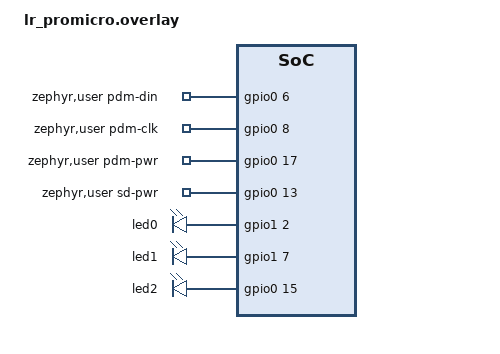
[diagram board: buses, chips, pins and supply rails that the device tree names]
/* ProMicro nRF52840 (nice!nano v2 clone) + a PDM mic breakout (pins 3V GND SEL CLK DAT), built on the XIAO board
 * definition: same chip, different pins.
 *
 * LR-P3 (hardware/lr-p3/README.md has the pin table): DAT-P0.06, CLK-P0.08, SEL-3V, GND-GND, 3V-P0.17 (the mic,
 * ~1 mA, is powered from a GPIO like the XIAO's own). All three are full-speed pins (not "low frequency I/O", nRF52840
 * PS table 145): the PDM clock is 1.28 MHz. The breadboard prototype had SEL on GND; mic.c samples in mono either way. */
/ {
	zephyr,user {
		pdm-din-gpios = <&gpio0 6 0>;
		pdm-clk-gpios = <&gpio0 8 0>;
		pdm-pwr-gpios = <&gpio0 17 0>;
		/* The nice!nano's VCC pin, switched by P0.13 (high: on): the SD module there. sdcard.c turns it off and on
		 * before mounting, so a card left stuck mid-command (a reset, a lost link mid-read) starts clean */
		sd-pwr-gpios = <&gpio0 13 GPIO_ACTIVE_HIGH>;
	};
};

/* One LED on P0.15 (active high), red on these clones (USB-C up, chip side: the right one), driven as led2 (the XIAO's
 * blue): short status flashes, CONFIG_LR_ONE_LED (led_code.h). The blue one beside it is the charger's, not ours.
 * led0/led1 go to the unrouted bottom pads P1.02 / P1.07. */
&led0 { gpios = <&gpio1 2 GPIO_ACTIVE_HIGH>; };
&led1 { gpios = <&gpio1 7 GPIO_ACTIVE_HIGH>; };
&led2 { gpios = <&gpio0 15 GPIO_ACTIVE_HIGH>; };

/* No QSPI flash on the ProMicro (P0.20/22/24 are header pins here) */
&qspi { status = "disabled"; };

/* Its bootloader (nice!nano, UF2 0.6.0) sits on SoftDevice S140 6.1.1: the application starts at 0x26000,
 * not the XIAO's 0x27000 */
&flash0 {
	partitions {
		/delete-node/ partition@27000;
		code_partition: partition@26000 {
			label = "code_partition";
			reg = <0x26000 0xc6000>;
		};
	};
};

/* The SD module on four full-speed pins down the left header, below the mic: CS-P0.20, MOSI-P0.22, CLK-P0.24,
 * MISO-P1.00 (the module's own order); 3V3 from VCC, GND from the right header. */
&custom_spi {
	group1 {
		psels = <NRF_PSEL(SPIM_SCK, 0, 24)>,
			<NRF_PSEL(SPIM_MOSI, 0, 22)>,
			<NRF_PSEL(SPIM_MISO, 1, 0)>;
	};
};
/* SPIM (EasyDMA): a block moves without an interrupt per byte. Full-speed pins, the card's power switched at boot
 * and reset over SPI before it mounts (sdcard.c): the 10-03 hang on the XIAO (lr_sd.overlay) did not show here. */
&spi2 {
	compatible = "nordic,nrf-spim";
	cs-gpios = <&gpio0 20 GPIO_ACTIVE_LOW>;
};
